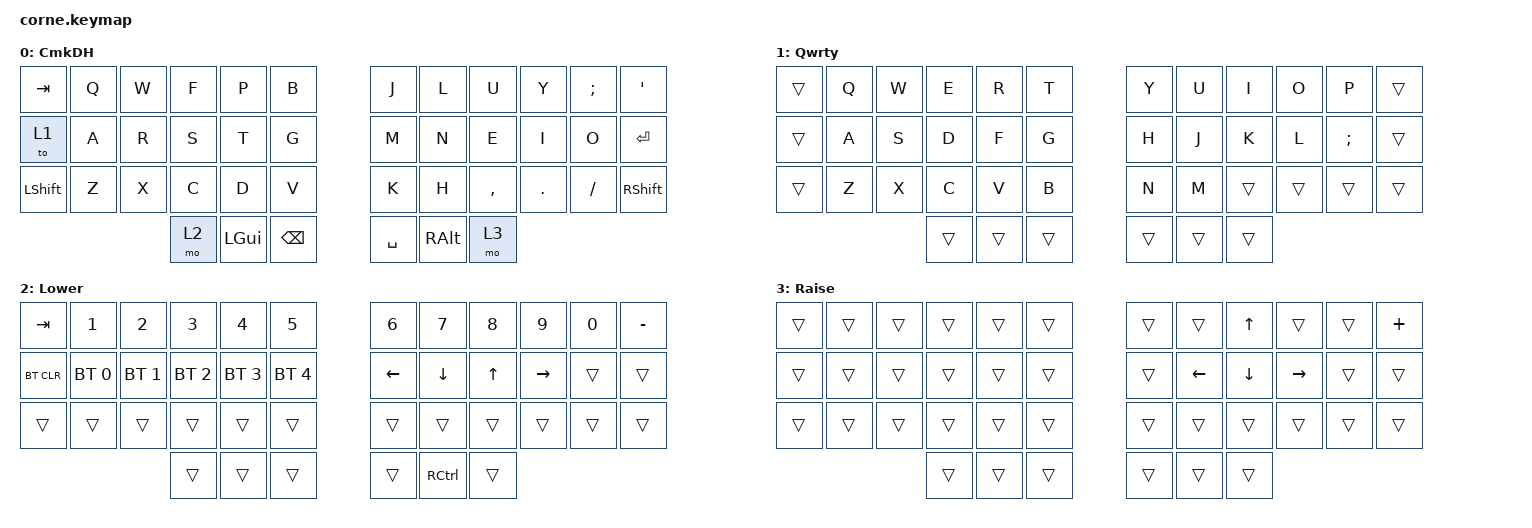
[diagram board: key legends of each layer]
/*
 * Copyright (c) 2020 The ZMK Contributors
 *
 * SPDX-License-Identifier: MIT
 */

#include <behaviors.dtsi>
#include <dt-bindings/zmk/keys.h>
#include <dt-bindings/zmk/bt.h>

/ {
        keymap {
                compatible = "zmk,keymap";

                colemak_layer {
// -----------------------------------------------------------------------------------------
// |  TAB  |  Q  |  W  |  F  |  P  |  B  |   |  J  |  L   |  U  |  Y  |  ;  |   '   |
// | TO(1) |  A  |  R  |  S  |  T  |  G  |   |  M  |  N   |  E  |  I  |  O  | ENTER |
// | SHIFT |  Z  |  X  |  C  |  D  |  V  |   |  K  |  H   |  ,  |  .  |  /  | SHIFT |
//                     | LWR | GUI | BSPC|   | SPC | ALT  | RSE |
                        label = "CmkDH";
                        bindings = <
   &kp TAB    &kp Q  &kp W  &kp F  &kp P     &kp B     &kp J      &kp L     &kp U      &kp Y    &kp SEMI  &kp SQT
   &to 1      &kp A  &kp R  &kp S  &kp T     &kp G     &kp M      &kp N     &kp E      &kp I    &kp O     &kp RET
   &kp LSHFT  &kp Z  &kp X  &kp C  &kp D     &kp V     &kp K      &kp H     &kp COMMA  &kp DOT  &kp FSLH  &kp RSHIFT
                            &mo 2  &kp LGUI  &kp BSPC  &kp SPACE  &kp RALT  &mo 3  
                        >;
                };

                qwerty_layer {
// -----------------------------------------------------------------------------------------
// |       |  Q  |  W  |  E  |  R  |  T  |   |  Y  |  U   |  I  |  O  |  P  |      |
// | TO(0) |  A  |  S  |  D  |  F  |  G  |   |  H  |  J   |  K  |  L  |  ;  |      |
// |       |  Z  |  X  |  C  |  V  |  B  |   |  N  |  M   |     |     |     |      |
//                     |     |     |     |   |     |      |     |
                        label = "Qwrty";
                        bindings = <
   &trans  &kp Q  &kp W  &kp E  &kp R  &kp T   &kp Y  &kp U  &kp I   &kp O   &kp P     &trans
   &trans  &kp A  &kp S  &kp D  &kp F  &kp G   &kp H  &kp J  &kp K   &kp L   &kp SEMI  &trans
   &trans  &kp Z  &kp X  &kp C  &kp V  &kp B   &kp N  &kp M  &trans  &trans  &trans    &trans
                         &trans &trans &trans  &trans &trans &trans
                        >;
                };

                lower_layer {
// -----------------------------------------------------------------------------------------
// |  ESC  |  1  |  2  |  3  |  4  |  5  |   |  6  |  7  |  8  |  9  |  0  |   -   |
// | BTCLR | BT1 | BT2 | BT3 | BT4 | BT5 |   | LFT | DWN |  UP | RGT |     |       |
// |       |     |     |     |     |     |   |     |     |     |     |     |       |
//                     |     |     |     |   |     |     |     |
                        label = "Lower";
                        bindings = <
   &kp TAB    &kp N1       &kp N2       &kp N3       &kp N4       &kp N5         &kp N6   &kp N7    &kp N8 &kp N9    &kp N0 &kp MINUS
   &bt BT_CLR &bt BT_SEL 0 &bt BT_SEL 1 &bt BT_SEL 2 &bt BT_SEL 3 &bt BT_SEL 4   &kp LEFT &kp DOWN  &kp UP &kp RIGHT &trans &trans
   &trans     &trans       &trans       &trans       &trans       &trans         &trans   &trans    &trans &trans    &trans &trans
                          	        &trans       &trans       &trans         &trans   &kp RCTRL &trans
                        >;
                };

                raise_layer {
// -----------------------------------------------------------------------------------------
// |      |     |     |     |     |     |   |     |     | UP  |     |     |   +  |
// |      |     |     |     |     |     |   |     | LFT | DWN | RGT |     |      |
// |      |     |     |     |     |     |   |     |     |     |     |     |      |
//                    |     |     |     |   |     |     |     |
                        label = "Raise";
                        bindings = <
   &trans  &trans  &trans  &trans  &trans  &trans   &trans   &trans    &kp UP    &trans     &trans  &kp PLUS
   &trans  &trans  &trans  &trans  &trans  &trans   &trans   &kp LEFT  &kp DOWN  &kp RIGHT  &trans  &trans
   &trans  &trans  &trans  &trans  &trans  &trans   &trans   &trans    &trans    &trans     &trans  &trans
                           &trans  &trans  &trans   &trans   &trans    &trans
                        >;
                };
        };
};
